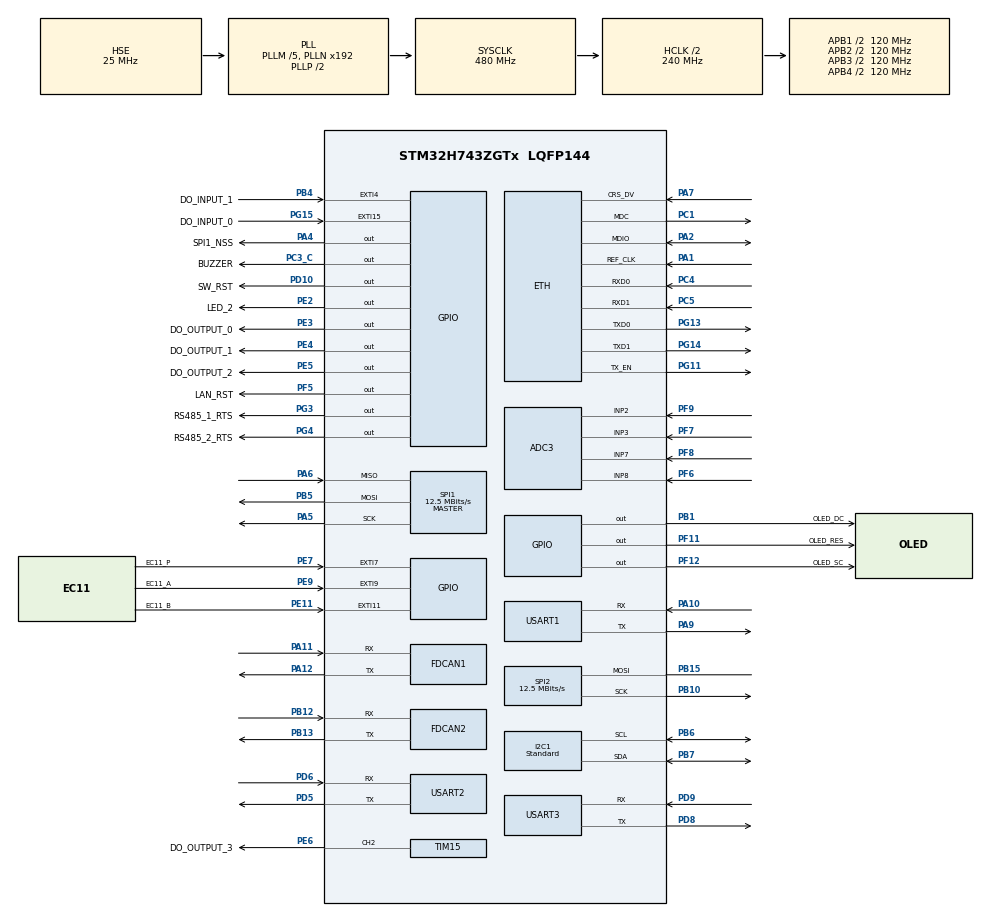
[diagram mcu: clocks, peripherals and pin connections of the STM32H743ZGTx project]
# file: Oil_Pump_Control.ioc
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ADC3.Channel-0\#ChannelRegularConversion=ADC_CHANNEL_8
ADC3.Channel-1\#ChannelRegularConversion=ADC_CHANNEL_3
ADC3.Channel-2\#ChannelRegularConversion=ADC_CHANNEL_7
ADC3.Channel-3\#ChannelRegularConversion=ADC_CHANNEL_2
ADC3.ClockPrescaler=ADC_CLOCK_ASYNC_DIV2
ADC3.ContinuousConvMode=ENABLE
ADC3.ConversionDataManagement=ADC_CONVERSIONDATA_DMA_CIRCULAR
ADC3.NbrOfConversion=4
ADC3.NbrOfConversionFlag=1
ADC3.OffsetNumber-0\#ChannelRegularConversion=ADC_OFFSET_NONE
ADC3.OffsetNumber-1\#ChannelRegularConversion=ADC_OFFSET_NONE
ADC3.OffsetNumber-2\#ChannelRegularConversion=ADC_OFFSET_NONE
ADC3.OffsetNumber-3\#ChannelRegularConversion=ADC_OFFSET_NONE
ADC3.OffsetSignedSaturation-0\#ChannelRegularConversion=DISABLE
ADC3.OffsetSignedSaturation-1\#ChannelRegularConversion=DISABLE
ADC3.OffsetSignedSaturation-2\#ChannelRegularConversion=DISABLE
ADC3.OffsetSignedSaturation-3\#ChannelRegularConversion=DISABLE
ADC3.Rank-0\#ChannelRegularConversion=1
ADC3.Rank-1\#ChannelRegularConversion=2
ADC3.Rank-2\#ChannelRegularConversion=3
ADC3.Rank-3\#ChannelRegularConversion=4
ADC3.SamplingTime-0\#ChannelRegularConversion=ADC_SAMPLETIME_32CYCLES_5
ADC3.SamplingTime-1\#ChannelRegularConversion=ADC_SAMPLETIME_32CYCLES_5
ADC3.SamplingTime-2\#ChannelRegularConversion=ADC_SAMPLETIME_32CYCLES_5
ADC3.SamplingTime-3\#ChannelRegularConversion=ADC_SAMPLETIME_32CYCLES_5
Bdma.ADC3.0.Direction=DMA_PERIPH_TO_MEMORY
Bdma.ADC3.0.EventEnable=DISABLE
Bdma.ADC3.0.Instance=BDMA_Channel0
Bdma.ADC3.0.MemDataAlignment=DMA_MDATAALIGN_HALFWORD
Bdma.ADC3.0.MemInc=DMA_MINC_ENABLE
Bdma.ADC3.0.Mode=DMA_CIRCULAR
Bdma.ADC3.0.PeriphDataAlignment=DMA_PDATAALIGN_HALFWORD
Bdma.ADC3.0.PeriphInc=DMA_PINC_DISABLE
Bdma.ADC3.0.Polarity=HAL_DMAMUX_REQ_GEN_RISING
Bdma.ADC3.0.Priority=DMA_PRIORITY_LOW
Bdma.ADC3.0.RequestNumber=1
Bdma.ADC3.0.SignalID=NONE
Bdma.ADC3.0.SyncEnable=DISABLE
Bdma.ADC3.0.SyncPolarity=HAL_DMAMUX_SYNC_NO_EVENT
Bdma.ADC3.0.SyncRequestNumber=1
Bdma.ADC3.0.SyncSignalID=NONE
Bdma.Request0=ADC3
Bdma.RequestsNb=1
CORTEX_M7.AccessPermission_S-Cortex_Memory_Protection_Unit_Region1_Settings_S=MPU_REGION_FULL_ACCESS
CORTEX_M7.AccessPermission_S-Cortex_Memory_Protection_Unit_Region2_Settings_S=MPU_REGION_FULL_ACCESS
CORTEX_M7.AccessPermission_S-Cortex_Memory_Protection_Unit_Region3_Settings_S=MPU_REGION_FULL_ACCESS
CORTEX_M7.AccessPermission_S-Cortex_Memory_Protection_Unit_Region4_Settings_S=MPU_REGION_FULL_ACCESS
CORTEX_M7.AccessPermission_Spec=MPU_REGION_FULL_ACCESS
CORTEX_M7.BaseAddress_S-Cortex_Memory_Protection_Unit_Region1_Settings_S=0x30000000
CORTEX_M7.BaseAddress_S-Cortex_Memory_Protection_Unit_Region2_Settings_S=0x30004000
CORTEX_M7.BaseAddress_S-Cortex_Memory_Protection_Unit_Region3_Settings_S=0x38000000
CORTEX_M7.BaseAddress_S-Cortex_Memory_Protection_Unit_Region4_Settings_S=0x38800000
CORTEX_M7.BaseAddress_Spec=0x24000000
CORTEX_M7.CPU_DCache=Enabled
CORTEX_M7.CPU_ICache=Enabled
CORTEX_M7.DisableExec_S-Cortex_Memory_Protection_Unit_Region1_Settings_S=MPU_INSTRUCTION_ACCESS_DISABLE
CORTEX_M7.DisableExec_S-Cortex_Memory_Protection_Unit_Region2_Settings_S=MPU_INSTRUCTION_ACCESS_DISABLE
CORTEX_M7.DisableExec_S-Cortex_Memory_Protection_Unit_Region3_Settings_S=MPU_INSTRUCTION_ACCESS_DISABLE
CORTEX_M7.DisableExec_S-Cortex_Memory_Protection_Unit_Region4_Settings_S=MPU_INSTRUCTION_ACCESS_DISABLE
CORTEX_M7.DisableExec_Spec=MPU_INSTRUCTION_ACCESS_DISABLE
CORTEX_M7.Enable_S-Cortex_Memory_Protection_Unit_Region1_Settings_S=MPU_REGION_ENABLE
CORTEX_M7.Enable_S-Cortex_Memory_Protection_Unit_Region2_Settings_S=MPU_REGION_ENABLE
CORTEX_M7.Enable_S-Cortex_Memory_Protection_Unit_Region3_Settings_S=MPU_REGION_ENABLE
CORTEX_M7.Enable_S-Cortex_Memory_Protection_Unit_Region4_Settings_S=MPU_REGION_ENABLE
CORTEX_M7.Enable_S-Cortex_Memory_Protection_Unit_Region5_Settings_S=__NULL
CORTEX_M7.IsBufferable_S-Cortex_Memory_Protection_Unit_Region1_Settings_S=MPU_ACCESS_BUFFERABLE
CORTEX_M7.IsBufferable_S-Cortex_Memory_Protection_Unit_Region2_Settings_S=MPU_ACCESS_BUFFERABLE
CORTEX_M7.IsBufferable_S-Cortex_Memory_Protection_Unit_Region3_Settings_S=MPU_ACCESS_BUFFERABLE
CORTEX_M7.IsBufferable_S-Cortex_Memory_Protection_Unit_Region4_Settings_S=MPU_ACCESS_NOT_BUFFERABLE
CORTEX_M7.IsBufferable_Spec=MPU_ACCESS_NOT_BUFFERABLE
CORTEX_M7.IsCacheable_S-Cortex_Memory_Protection_Unit_Region2_Settings_S=MPU_ACCESS_NOT_CACHEABLE
CORTEX_M7.IsCacheable_S-Cortex_Memory_Protection_Unit_Region4_Settings_S=MPU_ACCESS_NOT_CACHEABLE
CORTEX_M7.IsCacheable_Spec=MPU_ACCESS_CACHEABLE
CORTEX_M7.IsShareable_S-Cortex_Memory_Protection_Unit_Region1_Settings_S=MPU_ACCESS_SHAREABLE
CORTEX_M7.IsShareable_S-Cortex_Memory_Protection_Unit_Region2_Settings_S=MPU_ACCESS_SHAREABLE
CORTEX_M7.IsShareable_S-Cortex_Memory_Protection_Unit_Region3_Settings_S=MPU_ACCESS_SHAREABLE
CORTEX_M7.IsShareable_S-Cortex_Memory_Protection_Unit_Region4_Settings_S=MPU_ACCESS_NOT_SHAREABLE
CORTEX_M7.IsShareable_Spec=MPU_ACCESS_NOT_SHAREABLE
CORTEX_M7.Size_S-Cortex_Memory_Protection_Unit_Region1_Settings_S=MPU_REGION_SIZE_256KB
CORTEX_M7.Size_S-Cortex_Memory_Protection_Unit_Region2_Settings_S=MPU_REGION_SIZE_32KB
CORTEX_M7.Size_S-Cortex_Memory_Protection_Unit_Region3_Settings_S=MPU_REGION_SIZE_64KB
CORTEX_M7.Size_S-Cortex_Memory_Protection_Unit_Region4_Settings_S=MPU_REGION_SIZE_4KB
CORTEX_M7.Size_Spec=MPU_REGION_SIZE_512KB
CORTEX_M7.SubRegionDisable_Spec=0x00
CORTEX_M7.TypeExtField_S-Cortex_Memory_Protection_Unit_Region2_Settings_S=MPU_TEX_LEVEL0
CORTEX_M7.default_mode_Activation=1
Dma.I2C1_TX.0.Direction=DMA_MEMORY_TO_PERIPH
Dma.I2C1_TX.0.EventEnable=DISABLE
Dma.I2C1_TX.0.FIFOMode=DMA_FIFOMODE_DISABLE
Dma.I2C1_TX.0.Instance=DMA1_Stream3
Dma.I2C1_TX.0.MemDataAlignment=DMA_MDATAALIGN_BYTE
Dma.I2C1_TX.0.MemInc=DMA_MINC_ENABLE
Dma.I2C1_TX.0.Mode=DMA_NORMAL
Dma.I2C1_TX.0.PeriphDataAlignment=DMA_PDATAALIGN_BYTE
Dma.I2C1_TX.0.PeriphInc=DMA_PINC_DISABLE
Dma.I2C1_TX.0.Polarity=HAL_DMAMUX_REQ_GEN_RISING
Dma.I2C1_TX.0.Priority=DMA_PRIORITY_LOW
Dma.I2C1_TX.0.RequestNumber=1
Dma.I2C1_TX.0.SignalID=NONE
Dma.I2C1_TX.0.SyncEnable=DISABLE
Dma.I2C1_TX.0.SyncPolarity=HAL_DMAMUX_SYNC_NO_EVENT
Dma.I2C1_TX.0.SyncRequestNumber=1
Dma.I2C1_TX.0.SyncSignalID=NONE
Dma.Request0=I2C1_TX
Dma.Request1=USART2_RX
Dma.Request2=USART2_TX
Dma.Request3=USART1_RX
Dma.Request4=USART1_TX
Dma.Request5=USART3_RX
Dma.Request6=USART3_TX
Dma.USART1_RX.3.Direction=DMA_PERIPH_TO_MEMORY
Dma.USART1_RX.3.EventEnable=DISABLE
Dma.USART1_RX.3.FIFOMode=DMA_FIFOMODE_DISABLE
Dma.USART1_RX.3.Instance=DMA1_Stream0
Dma.USART1_RX.3.MemDataAlignment=DMA_MDATAALIGN_BYTE
Dma.USART1_RX.3.MemInc=DMA_MINC_ENABLE
Dma.USART1_RX.3.Mode=DMA_NORMAL
Dma.USART1_RX.3.PeriphDataAlignment=DMA_PDATAALIGN_BYTE
Dma.USART1_RX.3.PeriphInc=DMA_PINC_DISABLE
Dma.USART1_RX.3.Polarity=HAL_DMAMUX_REQ_GEN_RISING
Dma.USART1_RX.3.Priority=DMA_PRIORITY_HIGH
Dma.USART1_RX.3.RequestNumber=1
Dma.USART1_RX.3.SignalID=NONE
Dma.USART1_RX.3.SyncEnable=DISABLE
Dma.USART1_RX.3.SyncPolarity=HAL_DMAMUX_SYNC_NO_EVENT
Dma.USART1_RX.3.SyncRequestNumber=1
Dma.USART1_RX.3.SyncSignalID=NONE
Dma.USART1_TX.4.Direction=DMA_MEMORY_TO_PERIPH
Dma.USART1_TX.4.EventEnable=DISABLE
Dma.USART1_TX.4.FIFOMode=DMA_FIFOMODE_DISABLE
Dma.USART1_TX.4.Instance=DMA1_Stream1
Dma.USART1_TX.4.MemDataAlignment=DMA_MDATAALIGN_BYTE
Dma.USART1_TX.4.MemInc=DMA_MINC_ENABLE
Dma.USART1_TX.4.Mode=DMA_NORMAL
Dma.USART1_TX.4.PeriphDataAlignment=DMA_PDATAALIGN_BYTE
Dma.USART1_TX.4.PeriphInc=DMA_PINC_DISABLE
Dma.USART1_TX.4.Polarity=HAL_DMAMUX_REQ_GEN_RISING
Dma.USART1_TX.4.Priority=DMA_PRIORITY_HIGH
Dma.USART1_TX.4.RequestNumber=1
Dma.USART1_TX.4.SignalID=NONE
Dma.USART1_TX.4.SyncEnable=DISABLE
Dma.USART1_TX.4.SyncPolarity=HAL_DMAMUX_SYNC_NO_EVENT
Dma.USART1_TX.4.SyncRequestNumber=1
Dma.USART1_TX.4.SyncSignalID=NONE
Dma.USART2_RX.1.Direction=DMA_PERIPH_TO_MEMORY
Dma.USART2_RX.1.EventEnable=DISABLE
Dma.USART2_RX.1.FIFOMode=DMA_FIFOMODE_DISABLE
Dma.USART2_RX.1.Instance=DMA1_Stream4
Dma.USART2_RX.1.MemDataAlignment=DMA_MDATAALIGN_BYTE
Dma.USART2_RX.1.MemInc=DMA_MINC_ENABLE
Dma.USART2_RX.1.Mode=DMA_NORMAL
Dma.USART2_RX.1.PeriphDataAlignment=DMA_PDATAALIGN_BYTE
Dma.USART2_RX.1.PeriphInc=DMA_PINC_DISABLE
Dma.USART2_RX.1.Polarity=HAL_DMAMUX_REQ_GEN_RISING
Dma.USART2_RX.1.Priority=DMA_PRIORITY_LOW
Dma.USART2_RX.1.RequestNumber=1
Dma.USART2_RX.1.SignalID=NONE
Dma.USART2_RX.1.SyncEnable=DISABLE
Dma.USART2_RX.1.SyncPolarity=HAL_DMAMUX_SYNC_NO_EVENT
Dma.USART2_RX.1.SyncRequestNumber=1
Dma.USART2_RX.1.SyncSignalID=NONE
Dma.USART2_TX.2.Direction=DMA_MEMORY_TO_PERIPH
Dma.USART2_TX.2.EventEnable=DISABLE
Dma.USART2_TX.2.FIFOMode=DMA_FIFOMODE_DISABLE
Dma.USART2_TX.2.Instance=DMA1_Stream5
Dma.USART2_TX.2.MemDataAlignment=DMA_MDATAALIGN_BYTE
Dma.USART2_TX.2.MemInc=DMA_MINC_ENABLE
Dma.USART2_TX.2.Mode=DMA_NORMAL
Dma.USART2_TX.2.PeriphDataAlignment=DMA_PDATAALIGN_BYTE
Dma.USART2_TX.2.PeriphInc=DMA_PINC_DISABLE
Dma.USART2_TX.2.Polarity=HAL_DMAMUX_REQ_GEN_RISING
Dma.USART2_TX.2.Priority=DMA_PRIORITY_LOW
Dma.USART2_TX.2.RequestNumber=1
Dma.USART2_TX.2.SignalID=NONE
Dma.USART2_TX.2.SyncEnable=DISABLE
Dma.USART2_TX.2.SyncPolarity=HAL_DMAMUX_SYNC_NO_EVENT
Dma.USART2_TX.2.SyncRequestNumber=1
Dma.USART2_TX.2.SyncSignalID=NONE
Dma.USART3_RX.5.Direction=DMA_PERIPH_TO_MEMORY
Dma.USART3_RX.5.EventEnable=DISABLE
Dma.USART3_RX.5.FIFOMode=DMA_FIFOMODE_DISABLE
Dma.USART3_RX.5.Instance=DMA1_Stream2
Dma.USART3_RX.5.MemDataAlignment=DMA_MDATAALIGN_BYTE
Dma.USART3_RX.5.MemInc=DMA_MINC_ENABLE
Dma.USART3_RX.5.Mode=DMA_NORMAL
Dma.USART3_RX.5.PeriphDataAlignment=DMA_PDATAALIGN_BYTE
Dma.USART3_RX.5.PeriphInc=DMA_PINC_DISABLE
Dma.USART3_RX.5.Polarity=HAL_DMAMUX_REQ_GEN_RISING
Dma.USART3_RX.5.Priority=DMA_PRIORITY_LOW
Dma.USART3_RX.5.RequestNumber=1
Dma.USART3_RX.5.SignalID=NONE
Dma.USART3_RX.5.SyncEnable=DISABLE
Dma.USART3_RX.5.SyncPolarity=HAL_DMAMUX_SYNC_NO_EVENT
Dma.USART3_RX.5.SyncRequestNumber=1
Dma.USART3_RX.5.SyncSignalID=NONE
Dma.USART3_TX.6.Direction=DMA_MEMORY_TO_PERIPH
Dma.USART3_TX.6.EventEnable=DISABLE
Dma.USART3_TX.6.FIFOMode=DMA_FIFOMODE_DISABLE
Dma.USART3_TX.6.Instance=DMA1_Stream6
Dma.USART3_TX.6.MemDataAlignment=DMA_MDATAALIGN_BYTE
Dma.USART3_TX.6.MemInc=DMA_MINC_ENABLE
Dma.USART3_TX.6.Mode=DMA_NORMAL
Dma.USART3_TX.6.PeriphDataAlignment=DMA_PDATAALIGN_BYTE
Dma.USART3_TX.6.PeriphInc=DMA_PINC_DISABLE
Dma.USART3_TX.6.Polarity=HAL_DMAMUX_REQ_GEN_RISING
Dma.USART3_TX.6.Priority=DMA_PRIORITY_LOW
Dma.USART3_TX.6.RequestNumber=1
Dma.USART3_TX.6.SignalID=NONE
Dma.USART3_TX.6.SyncEnable=DISABLE
Dma.USART3_TX.6.SyncPolarity=HAL_DMAMUX_SYNC_NO_EVENT
Dma.USART3_TX.6.SyncRequestNumber=1
Dma.USART3_TX.6.SyncSignalID=NONE
ETH.ETH_RX_DESC_CNT=4
ETH.ETH_TX_DESC_CNT=4
ETH.MediaInterface=HAL_ETH_RMII_MODE
ETH.RxBuffLen=1536
ETH.RxBufferAddress=0x30000200
ETH.RxDescAddress=0x30000000
ETH.TxDescAddress=0x30000100
FDCAN1.CalculateBaudRateNominal=500000
FDCAN1.CalculateTimeBitNominal=2000
FDCAN1.CalculateTimeQuantumNominal=50.0
FDCAN1.DataPrescaler=5
FDCAN1.DataTimeSeg1=31
FDCAN1.DataTimeSeg2=8
FDCAN1.NominalPrescaler=5
FDCAN1.NominalTimeSeg1=31
FDCAN1.NominalTimeSeg2=8
FDCAN1.RxFifo0ElmtsNbr=32
FDCAN1.StdFiltersNbr=1
FDCAN1.TxFifoQueueElmtsNbr=16
FDCAN2.CalculateBaudRateNominal=500000
FDCAN2.CalculateTimeBitNominal=2000
FDCAN2.CalculateTimeQuantumNominal=50.0
FDCAN2.DataPrescaler=5
FDCAN2.DataTimeSeg1=31
FDCAN2.DataTimeSeg2=8
FDCAN2.MessageRAMOffset=0x406
FDCAN2.NominalPrescaler=5
FDCAN2.NominalTimeSeg1=31
FDCAN2.NominalTimeSeg2=8
FDCAN2.RxFifo1ElmtsNbr=32
FDCAN2.StdFiltersNbr=1
FDCAN2.TxFifoQueueElmtsNbr=32
FREERTOS.HEAP_NUMBER=4
FREERTOS.Tasks01=defaultTask,24,4096,StartDefaultTask,Default,NULL,Dynamic,NULL,NULL
FREERTOS.configENABLE_FPU=1
FREERTOS.configMINIMAL_STACK_SIZE=1024
FREERTOS.configTIMER_QUEUE_LENGTH=20
FREERTOS.configTIMER_TASK_PRIORITY=24
FREERTOS.configTIMER_TASK_STACK_DEPTH=20480
FREERTOS.configTOTAL_HEAP_SIZE=200*1024
FREERTOS.configUSE_NEWLIB_REENTRANT=1
FREERTOS.configUSE_TICKLESS_IDLE=1
I2C1.CustomTiming=Disabled
I2C1.I2C_Coeff_DF=10
I2C1.I2C_Fall_Time=20
I2C1.I2C_Rise_Time=20
I2C1.I2C_Speed_Mode=I2C_Standard
I2C1.Timing=0x10D0E0FF
IWDG1.Prescaler=IWDG_PRESCALER_4
LWIP.BSP.number=1
LWIP.DEFAULT_THREAD_PRIO=28
LWIP.ETH_RX_BUFFER_CNT=128
LWIP.IP_ADDRESS=000.000.000.000
LWIP.LWIP_ALLOW_MEM_FREE_FROM_OTHER_CONTEXT=1
LWIP.LWIP_DHCP=0
LWIP.LWIP_NETCONN_FULLDUPLEX=1
LWIP.LWIP_RAM_HEAP_POINTER=0x30000800
LWIP.LWIP_SNTP=1
LWIP.LWIP_TFTP=1
LWIP.MEMP_MEM_INIT=1
LWIP.MEMP_MEM_MALLOC=1
LWIP.MEMP_NUM_PBUF=64
LWIP.MEMP_USE_CUSTOM_POOLS=1
LWIP.MEM_LIBC_MALLOC=1
LWIP.MEM_SIZE=65535
LWIP.NETMASK_ADDRESS=000.000.000.000
LWIP.PBUF_POOL_SIZE=128
LWIP.SLIPIF_THREAD_PRIO=28
LWIP.TCPIP_THREAD_PRIO=32
LWIP.TCPIP_THREAD_STACKSIZE=4096
LWIP.TCP_SND_QUEUELEN=24
LWIP.Version=v2.1.2_Cube
LWIP0.BSP.STBoard=false
LWIP0.BSP.api=BSP_COMPONENT_DRIVER
LWIP0.BSP.component=LAN8742
LWIP0.BSP.instance=LAN8742
LWIP0.BSP.name=Driver_PHY
LWIP0.BSP.semaphore=S_LAN8742
LWIP0.BSP.solution=LAN8742
Mcu.Family=STM32H7
Mcu.Name=STM32H743ZGTx
Mcu.Package=LQFP144
NVIC.BDMA_Channel0_IRQn=true\:5\:0\:false\:false\:true\:true\:false\:true\:true
NVIC.DMA1_Stream0_IRQn=true\:5\:0\:false\:false\:true\:true\:false\:true\:true
NVIC.DMA1_Stream1_IRQn=true\:5\:0\:false\:false\:true\:true\:false\:true\:true
NVIC.DMA1_Stream2_IRQn=true\:5\:0\:false\:false\:true\:true\:false\:true\:true
NVIC.DMA1_Stream3_IRQn=true\:5\:0\:false\:false\:true\:true\:false\:true\:true
NVIC.DMA1_Stream4_IRQn=true\:5\:0\:false\:false\:true\:true\:false\:true\:true
NVIC.DMA1_Stream5_IRQn=true\:5\:0\:false\:false\:true\:true\:false\:true\:true
NVIC.DMA1_Stream6_IRQn=true\:5\:0\:false\:false\:true\:true\:false\:true\:true
NVIC.ETH_IRQn=true\:5\:0\:true\:false\:true\:true\:true\:true\:true
NVIC.EXTI15_10_IRQn=true\:6\:0\:true\:false\:true\:true\:true\:true\:true
NVIC.EXTI4_IRQn=true\:6\:0\:true\:false\:true\:true\:true\:true\:true
NVIC.EXTI9_5_IRQn=true\:6\:0\:true\:false\:true\:false\:true\:true\:true
NVIC.FDCAN1_IT0_IRQn=true\:5\:0\:false\:false\:true\:true\:true\:true\:true
NVIC.FDCAN2_IT0_IRQn=true\:5\:0\:false\:false\:true\:true\:true\:true\:true
NVIC.PriorityGroup=NVIC_PRIORITYGROUP_4
NVIC.TIM15_IRQn=true\:5\:0\:false\:false\:true\:true\:true\:true\:true
NVIC.TIM2_IRQn=true\:5\:0\:false\:false\:false\:true\:true\:true\:true
NVIC.TIM7_IRQn=true\:15\:0\:false\:false\:true\:false\:false\:true\:true
NVIC.TimeBase=TIM7_IRQn
NVIC.TimeBaseIP=TIM7
NVIC.USART1_IRQn=true\:7\:0\:true\:false\:false\:true\:true\:true\:true
NVIC.USART2_IRQn=true\:5\:0\:true\:false\:true\:true\:true\:true\:true
NVIC.USART3_IRQn=true\:5\:0\:true\:false\:false\:true\:true\:true\:true
PA1.GPIO_Mode=GPIO_MODE_AF_PP
PA1.GPIO_PuPd=GPIO_NOPULL
PA1.GPIO_Speed=GPIO_SPEED_FREQ_VERY_HIGH
PA1.Mode=RMII
PA1.Signal=ETH_REF_CLK
PA10.GPIO_PuPd=GPIO_PULLUP
PA10.GPIO_Speed=GPIO_SPEED_FREQ_HIGH
PA10.Mode=Asynchronous
PA10.Signal=USART1_RX
PA11.Mode=FDCAN_Activate
PA11.Signal=FDCAN1_RX
PA12.Mode=FDCAN_Activate
PA12.Signal=FDCAN1_TX
PA13\ (JTMS/SWDIO).Mode=Serial_Wire
PA13\ (JTMS/SWDIO).Signal=DEBUG_JTMS-SWDIO
PA14\ (JTCK/SWCLK).Mode=Serial_Wire
PA14\ (JTCK/SWCLK).Signal=DEBUG_JTCK-SWCLK
PA2.GPIO_Mode=GPIO_MODE_AF_PP
PA2.GPIO_PuPd=GPIO_NOPULL
PA2.GPIO_Speed=GPIO_SPEED_FREQ_VERY_HIGH
PA2.Mode=RMII
PA2.Signal=ETH_MDIO
PA4.GPIO_Label=SPI1_NSS
PA4.GPIO_Speed=GPIO_SPEED_FREQ_MEDIUM
PA4.Signal=GPIO_Output
PA5.GPIO_Speed=GPIO_SPEED_FREQ_VERY_HIGH
PA5.Mode=Full_Duplex_Master
PA5.Signal=SPI1_SCK
PA6.GPIO_Speed=GPIO_SPEED_FREQ_VERY_HIGH
PA6.Mode=Full_Duplex_Master
PA6.Signal=SPI1_MISO
PA7.GPIO_Mode=GPIO_MODE_AF_PP
PA7.GPIO_PuPd=GPIO_NOPULL
PA7.GPIO_Speed=GPIO_SPEED_FREQ_VERY_HIGH
PA7.Mode=RMII
PA7.Signal=ETH_CRS_DV
PA9.GPIO_PuPd=GPIO_PULLUP
PA9.GPIO_Speed=GPIO_SPEED_FREQ_HIGH
PA9.Mode=Asynchronous
PA9.Signal=USART1_TX
PB1.GPIO_Label=OLED_DC
PB1.Signal=GPIO_Output
PB10.Mode=Simplex_Bidirectional_Master
PB10.Signal=SPI2_SCK
PB12.Mode=FDCAN_Activate
PB12.Signal=FDCAN2_RX
PB13.Mode=FDCAN_Activate
PB13.Signal=FDCAN2_TX
PB15.Mode=Simplex_Bidirectional_Master
PB15.Signal=SPI2_MOSI
PB4\ (NJTRST).GPIO_Label=DO_INPUT_1
PB4\ (NJTRST).Signal=GPXTI4
PB5.GPIO_Speed=GPIO_SPEED_FREQ_VERY_HIGH
PB5.Mode=Full_Duplex_Master
PB5.Signal=SPI1_MOSI
PB6.GPIO_Pu=GPIO_PULLUP
PB6.GPIO_Speed=GPIO_SPEED_FREQ_HIGH
PB6.Mode=I2C
PB6.Signal=I2C1_SCL
PB7.GPIO_Pu=GPIO_PULLUP
PB7.GPIO_Speed=GPIO_SPEED_FREQ_HIGH
PB7.Mode=I2C
PB7.Signal=I2C1_SDA
PC1.GPIO_Mode=GPIO_MODE_AF_PP
PC1.GPIO_PuPd=GPIO_NOPULL
PC1.GPIO_Speed=GPIO_SPEED_FREQ_VERY_HIGH
PC1.Mode=RMII
PC1.Signal=ETH_MDC
PC3_C.GPIO_Label=BUZZER
PC3_C.GPIO_Speed=GPIO_SPEED_FREQ_HIGH
PC3_C.Signal=GPIO_Output
PC4.GPIO_Mode=GPIO_MODE_AF_PP
PC4.GPIO_PuPd=GPIO_NOPULL
PC4.GPIO_Speed=GPIO_SPEED_FREQ_VERY_HIGH
PC4.Mode=RMII
PC4.Signal=ETH_RXD0
PC5.GPIO_Mode=GPIO_MODE_AF_PP
PC5.GPIO_PuPd=GPIO_NOPULL
PC5.GPIO_Speed=GPIO_SPEED_FREQ_VERY_HIGH
PC5.Mode=RMII
PC5.Signal=ETH_RXD1
PD10.GPIO_Label=SW_RST
PD10.Signal=GPIO_Output
PD5.GPIO_PuPd=GPIO_PULLUP
PD5.GPIO_Speed=GPIO_SPEED_FREQ_HIGH
PD5.Mode=Asynchronous
PD5.Signal=USART2_TX
PD6.GPIO_PuPd=GPIO_PULLUP
PD6.GPIO_Speed=GPIO_SPEED_FREQ_HIGH
PD6.Mode=Asynchronous
PD6.Signal=USART2_RX
PD8.GPIO_PuPd=GPIO_PULLUP
PD8.GPIO_Speed=GPIO_SPEED_FREQ_HIGH
PD8.Mode=Asynchronous
PD8.Signal=USART3_TX
PD9.GPIO_PuPd=GPIO_PULLUP
PD9.GPIO_Speed=GPIO_SPEED_FREQ_HIGH
PD9.Mode=Asynchronous
PD9.Signal=USART3_RX
PE11.GPIO_Label=EC11_B
PE11.GPIO_PuPd=GPIO_PULLUP
PE11.Signal=GPXTI11
PE2.GPIO_Label=LED_2
PE2.GPIO_PuPd=GPIO_PULLUP
PE2.Signal=GPIO_Output
PE3.GPIO_Label=DO_OUTPUT_0
PE3.GPIO_ModeDefaultOutputPP=GPIO_MODE_OUTPUT_PP
PE3.Signal=GPIO_Output
PE4.GPIO_Label=DO_OUTPUT_1
PE4.Signal=GPIO_Output
PE5.GPIO_Label=DO_OUTPUT_2
PE5.Signal=GPIO_Output
PE6.GPIO_Label=DO_OUTPUT_3
PE6.GPIO_Speed=GPIO_SPEED_FREQ_MEDIUM
PE6.Signal=S_TIM15_CH2
PE7.GPIO_Label=EC11_P
PE7.GPIO_ModeDefaultEXTI=GPIO_MODE_IT_RISING_FALLING
PE7.GPIO_PuPd=GPIO_PULLUP
PE7.Signal=GPXTI7
PE9.GPIO_Label=EC11_A
PE9.GPIO_PuPd=GPIO_PULLUP
PE9.Signal=GPXTI9
PF11.GPIO_Label=OLED_RES
PF11.Signal=GPIO_Output
PF12.GPIO_Label=OLED_SC
PF12.Signal=GPIO_Output
PF5.GPIO_Label=LAN_RST
PF5.GPIO_PuPd=GPIO_NOPULL
PF5.PinState=GPIO_PIN_SET
PF5.Signal=GPIO_Output
PF6.Mode=IN8-Single-Ended
PF6.Signal=ADC3_INP8
PF7.Mode=IN3-Single-Ended
PF7.Signal=ADC3_INP3
PF8.Mode=IN7-Single-Ended
PF8.Signal=ADC3_INP7
PF9.Mode=IN2-Single-Ended
PF9.Signal=ADC3_INP2
PG11.GPIO_Mode=GPIO_MODE_AF_PP
PG11.GPIO_PuPd=GPIO_NOPULL
PG11.GPIO_Speed=GPIO_SPEED_FREQ_VERY_HIGH
PG11.Mode=RMII
PG11.Signal=ETH_TX_EN
PG13.GPIO_Mode=GPIO_MODE_AF_PP
PG13.GPIO_PuPd=GPIO_NOPULL
PG13.GPIO_Speed=GPIO_SPEED_FREQ_VERY_HIGH
PG13.Mode=RMII
PG13.Signal=ETH_TXD0
PG14.GPIO_Mode=GPIO_MODE_AF_PP
PG14.GPIO_PuPd=GPIO_NOPULL
PG14.GPIO_Speed=GPIO_SPEED_FREQ_VERY_HIGH
PG14.Mode=RMII
PG14.Signal=ETH_TXD1
PG15.GPIO_Label=DO_INPUT_0
PG15.GPIO_PuPd=GPIO_PULLDOWN
PG15.Signal=GPXTI15
PG3.GPIO_Label=RS485_1_RTS
PG3.GPIO_ModeDefaultOutputPP=GPIO_MODE_OUTPUT_PP
PG3.GPIO_PuPd=GPIO_NOPULL
PG3.GPIO_Speed=GPIO_SPEED_FREQ_MEDIUM
PG3.PinState=GPIO_PIN_RESET
PG3.Signal=GPIO_Output
PG4.GPIO_Label=RS485_2_RTS
PG4.GPIO_PuPd=GPIO_NOPULL
PG4.GPIO_Speed=GPIO_SPEED_FREQ_MEDIUM
PG4.PinState=GPIO_PIN_RESET
PG4.Signal=GPIO_Output
PH0-OSC_IN\ (PH0).Mode=HSE-External-Oscillator
PH0-OSC_IN\ (PH0).Signal=RCC_OSC_IN
PH1-OSC_OUT\ (PH1).Mode=HSE-External-Oscillator
PH1-OSC_OUT\ (PH1).Signal=RCC_OSC_OUT
ProjectManager.HeapSize=0x1200
ProjectManager.StackSize=0x1000
ProjectManager.TargetToolchain=CMake
RCC.ADCFreq_Value=100000000
RCC.APB1Freq_Value=120000000
RCC.APB2Freq_Value=120000000
RCC.APB3Freq_Value=120000000
RCC.APB4Freq_Value=120000000
RCC.CortexFreq_Value=480000000
RCC.D1PPRE=RCC_APB3_DIV2
RCC.D2PPRE1=RCC_APB1_DIV2
RCC.D2PPRE2=RCC_APB2_DIV2
RCC.D3PPRE=RCC_APB4_DIV2
RCC.DIVM1=5
RCC.DIVM2=5
RCC.DIVM3=5
RCC.DIVN1=192
RCC.DIVN2=160
RCC.DIVN3=160
RCC.DIVP2=8
RCC.DIVP3=4
RCC.DIVQ2=8
RCC.DIVR3=8
RCC.FDCANCLockSelection=RCC_FDCANCLKSOURCE_PLL2
RCC.HCLKFreq_Value=240000000
RCC.HPRE=RCC_HCLK_DIV2
RCC.I2C123CLockSelection=RCC_I2C123CLKSOURCE_PLL3
RCC.PLLSourceVirtual=RCC_PLLSOURCE_HSE
RCC.SPI123CLockSelection=RCC_SPI123CLKSOURCE_PLL3
RCC.SYSCLKFreq_VALUE=480000000
RCC.SYSCLKSource=RCC_SYSCLKSOURCE_PLLCLK
RCC.USBFreq_Value=480000000
RTC.Format=RTC_FORMAT_BCD
RTC.Year=25
SH.S_TIM15_CH2.0=TIM15_CH2,PWM Generation2 CH2
SPI1.BaudRatePrescaler=SPI_BAUDRATEPRESCALER_16
SPI1.CLKPhase=SPI_PHASE_1EDGE
SPI1.CLKPolarity=SPI_POLARITY_LOW
SPI1.CalculateBaudRate=12.5 MBits/s
SPI1.DataSize=SPI_DATASIZE_8BIT
SPI1.Direction=SPI_DIRECTION_2LINES
SPI1.FirstBit=SPI_FIRSTBIT_MSB
SPI1.Mode=SPI_MODE_MASTER
SPI1.VirtualType=VM_MASTER
SPI2.BaudRatePrescaler=SPI_BAUDRATEPRESCALER_16
SPI2.CLKPhase=SPI_PHASE_2EDGE
SPI2.CLKPolarity=SPI_POLARITY_HIGH
SPI2.CalculateBaudRate=12.5 MBits/s
SPI2.DataSize=SPI_DATASIZE_8BIT
SPI2.Direction=SPI_DIRECTION_1LINE
SPI2.Mode=SPI_MODE_MASTER
SPI2.VirtualType=VM_MASTER
TIM15.AutoReloadPreload=TIM_AUTORELOAD_PRELOAD_ENABLE
TIM15.Channel-PWM\ Generation2\ CH2=TIM_CHANNEL_2
TIM15.Period=1000-1
TIM15.Prescaler=120-1
TIM15.Pulse-PWM\ Generation2\ CH2=500-1
TIM2.AutoReloadPreload=TIM_AUTORELOAD_PRELOAD_DISABLE
TIM2.Prescaler=239
USART1.VirtualMode-Asynchronous=VM_ASYNC
USART2.VirtualMode-Asynchronous=VM_ASYNC
USART3.VirtualMode-Asynchronous=VM_ASYNC
VP_FREERTOS_VS_CMSIS_V2.Mode=CMSIS_V2
VP_IWDG1_VS_IWDG.Mode=IWDG_Activate
VP_LWIP_VS_Enabled.Mode=Enabled
VP_MEMORYMAP_VS_MEMORYMAP.Mode=CurAppReg
VP_RTC_VS_RTC_Activate.Mode=RTC_Enabled
VP_RTC_VS_RTC_Calendar.Mode=RTC_Calendar
VP_SYS_VS_tim7.Mode=TIM7
VP_TIM15_VS_ClockSourceINT.Mode=Internal
VP_TIM2_VS_ClockSourceINT.Mode=Internal
board=custom

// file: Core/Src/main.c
/* USER CODE BEGIN Header */
/**
  ******************************************************************************
  * @file           : main.c
  * @brief          : Main program body
  ******************************************************************************
  * @attention
  *
  * Copyright (c) 2026 STMicroelectronics.
  * All rights reserved.
  *
  * This software is licensed under terms that can be found in the LICENSE file
  * in the root directory of this software component.
  * If no LICENSE file comes with this software, it is provided AS-IS.
  *
  ******************************************************************************
  */
/* USER CODE END Header */
#include "main.h"
#include "cmsis_os.h"
#include "adc.h"
#include "bdma.h"
#include "dma.h"
#include "fdcan.h"
#include "i2c.h"
#include "iwdg.h"
#include "lwip.h"
#include "rtc.h"
#include "spi.h"
#include "tim.h"
#include "usart.h"
#include "gpio.h"

/* USER CODE BEGIN Includes */
#include "cJSON.h"
#include "ADC_collect.h"
#include "main_logic.h"
/* USER CODE END Includes */

void SystemClock_Config(void);
void PeriphCommonClock_Config(void);
static void MPU_Config(void);
void MX_FREERTOS_Init(void);

int main(void)
{

  /* USER CODE BEGIN 1 */
  /* App 运行在内部 Flash 第二 bank（0x08100000），需将向量表偏移指向此处，
     否则中断仍会跳到 Bootloader 区（0x08000000）导致 HardFault。 */
  SCB->VTOR = 0x08100000UL;
  /* USER CODE END 1 */

  /* MPU Configuration--------------------------------------------------------*/
  MPU_Config();

  /* Enable the CPU Cache */

  /* Enable I-Cache---------------------------------------------------------*/
  SCB_EnableICache();

  /* Enable D-Cache---------------------------------------------------------*/
  SCB_EnableDCache();

  /* MCU Configuration--------------------------------------------------------*/

  /* Reset of all peripherals, Initializes the Flash interface and the Systick. */
  HAL_Init();

  /* Configure the system clock */
  SystemClock_Config();

  /* Configure the peripherals common clocks */
  PeriphCommonClock_Config();

  /* Initialize all configured peripherals */
  MX_GPIO_Init();
  MX_DMA_Init();
  MX_BDMA_Init();
  MX_FDCAN1_Init();
  MX_FDCAN2_Init();
  MX_I2C1_Init();
  MX_RTC_Init();
  MX_SPI1_Init();
  MX_USART1_UART_Init();
  MX_USART3_UART_Init();
  MX_USART2_UART_Init();
  MX_SPI2_Init();
  MX_IWDG1_Init();
  MX_ADC3_Init();
  MX_TIM2_Init();
  MX_TIM15_Init();
  /* USER CODE BEGIN 2 */
  cJSON_Init_FreeRTOS_Heap();

  SCB_CleanInvalidateDCache_by_Addr((uint32_t *)adc_raw_buf, sizeof(adc_raw_buf));
  HAL_StatusTypeDef adc_ret = HAL_ADC_Start_DMA(&hadc3, (uint32_t*)adc_raw_buf, 4);
  SET_BIT(ADC3->CFGR, ADC_CFGR_DMNGT_0 | ADC_CFGR_DMNGT_1);
  if(adc_ret == HAL_OK)
  {
      LOG_Debug("ADC3 DMA 启动成功");
  }
  else
  {
      LOG_Debug("ADC3 DMA 启动失败, ret=%d", adc_ret);
  }
  // 判断ADC是否正在持续转换
  if(READ_BIT(ADC3->CR, ADC_CR_ADSTART))
  {
      LOG_Debug("ADC3 正在转换中");
  }
  if(READ_BIT(BDMA_Channel0->CCR, BDMA_CCR_EN))
  {
      LOG_Debug("BDMA通道0已开启传输");
  }
  /* USER CODE END 2 */

  /* Init scheduler */
  osKernelInitialize();  /* Call init function for freertos objects (in cmsis_os2.c) */
  MX_FREERTOS_Init();

  /* Start scheduler */
  osKernelStart();

  /* We should never get here as control is now taken by the scheduler */

  /* Infinite loop */
  while (1)
  {

  }
}

void SystemClock_Config(void)
{
  RCC_OscInitTypeDef RCC_OscInitStruct = {0};
  RCC_ClkInitTypeDef RCC_ClkInitStruct = {0};

  /** Supply configuration update enable
  */
  HAL_PWREx_ConfigSupply(PWR_LDO_SUPPLY);

  /** Configure the main internal regulator output voltage
  */
  __HAL_PWR_VOLTAGESCALING_CONFIG(PWR_REGULATOR_VOLTAGE_SCALE0);

  while(!__HAL_PWR_GET_FLAG(PWR_FLAG_VOSRDY)) {}

  /** Initializes the RCC Oscillators according to the specified parameters
  * in the RCC_OscInitTypeDef structure.
  */
  RCC_OscInitStruct.OscillatorType = RCC_OSCILLATORTYPE_LSI|RCC_OSCILLATORTYPE_HSE;
  RCC_OscInitStruct.HSEState = RCC_HSE_ON;
  RCC_OscInitStruct.LSIState = RCC_LSI_ON;
  RCC_OscInitStruct.PLL.PLLState = RCC_PLL_ON;
  RCC_OscInitStruct.PLL.PLLSource = RCC_PLLSOURCE_HSE;
  RCC_OscInitStruct.PLL.PLLM = 5;
  RCC_OscInitStruct.PLL.PLLN = 192;
  RCC_OscInitStruct.PLL.PLLP = 2;
  RCC_OscInitStruct.PLL.PLLQ = 2;
  RCC_OscInitStruct.PLL.PLLR = 2;
  RCC_OscInitStruct.PLL.PLLRGE = RCC_PLL1VCIRANGE_2;
  RCC_OscInitStruct.PLL.PLLVCOSEL = RCC_PLL1VCOWIDE;
  RCC_OscInitStruct.PLL.PLLFRACN = 0;
  if (HAL_RCC_OscConfig(&RCC_OscInitStruct) != HAL_OK)
  {
    Error_Handler();
  }

  /** Initializes the CPU, AHB and APB buses clocks
  */
  RCC_ClkInitStruct.ClockType = RCC_CLOCKTYPE_HCLK|RCC_CLOCKTYPE_SYSCLK
                              |RCC_CLOCKTYPE_PCLK1|RCC_CLOCKTYPE_PCLK2
                              |RCC_CLOCKTYPE_D3PCLK1|RCC_CLOCKTYPE_D1PCLK1;
  RCC_ClkInitStruct.SYSCLKSource = RCC_SYSCLKSOURCE_PLLCLK;
  RCC_ClkInitStruct.SYSCLKDivider = RCC_SYSCLK_DIV1;
  RCC_ClkInitStruct.AHBCLKDivider = RCC_HCLK_DIV2;
  RCC_ClkInitStruct.APB3CLKDivider = RCC_APB3_DIV2;
  RCC_ClkInitStruct.APB1CLKDivider = RCC_APB1_DIV2;
  RCC_ClkInitStruct.APB2CLKDivider = RCC_APB2_DIV2;
  RCC_ClkInitStruct.APB4CLKDivider = RCC_APB4_DIV2;

  if (HAL_RCC_ClockConfig(&RCC_ClkInitStruct, FLASH_LATENCY_4) != HAL_OK)
  {
    Error_Handler();
  }
}

void PeriphCommonClock_Config(void)
{
  RCC_PeriphCLKInitTypeDef PeriphClkInitStruct = {0};

  /** Initializes the peripherals clock
  */
  PeriphClkInitStruct.PeriphClockSelection = RCC_PERIPHCLK_ADC|RCC_PERIPHCLK_I2C1
                              |RCC_PERIPHCLK_SPI2|RCC_PERIPHCLK_SPI1
                              |RCC_PERIPHCLK_FDCAN;
  PeriphClkInitStruct.PLL2.PLL2M = 5;
  PeriphClkInitStruct.PLL2.PLL2N = 160;
  PeriphClkInitStruct.PLL2.PLL2P = 8;
  PeriphClkInitStruct.PLL2.PLL2Q = 8;
  PeriphClkInitStruct.PLL2.PLL2R = 2;
  PeriphClkInitStruct.PLL2.PLL2RGE = RCC_PLL2VCIRANGE_2;
  PeriphClkInitStruct.PLL2.PLL2VCOSEL = RCC_PLL2VCOWIDE;
  PeriphClkInitStruct.PLL2.PLL2FRACN = 0;
  PeriphClkInitStruct.PLL3.PLL3M = 5;
  PeriphClkInitStruct.PLL3.PLL3N = 160;
  PeriphClkInitStruct.PLL3.PLL3P = 4;
  PeriphClkInitStruct.PLL3.PLL3Q = 2;
  PeriphClkInitStruct.PLL3.PLL3R = 8;
  PeriphClkInitStruct.PLL3.PLL3RGE = RCC_PLL3VCIRANGE_2;
  PeriphClkInitStruct.PLL3.PLL3VCOSEL = RCC_PLL3VCOWIDE;
  PeriphClkInitStruct.PLL3.PLL3FRACN = 0;
  PeriphClkInitStruct.Spi123ClockSelection = RCC_SPI123CLKSOURCE_PLL3;
  PeriphClkInitStruct.FdcanClockSelection = RCC_FDCANCLKSOURCE_PLL2;
  PeriphClkInitStruct.I2c123ClockSelection = RCC_I2C123CLKSOURCE_PLL3;
  PeriphClkInitStruct.AdcClockSelection = RCC_ADCCLKSOURCE_PLL2;
  if (HAL_RCCEx_PeriphCLKConfig(&PeriphClkInitStruct) != HAL_OK)
  {
    Error_Handler();
  }
}

 /* MPU Configuration */

void MPU_Config(void)
{
  MPU_Region_InitTypeDef MPU_InitStruct = {0};

  /* Disables the MPU */
  HAL_MPU_Disable();

  /** Initializes and configures the Region and the memory to be protected
  */
  MPU_InitStruct.Enable = MPU_REGION_ENABLE;
  MPU_InitStruct.Number = MPU_REGION_NUMBER0;
  MPU_InitStruct.BaseAddress = 0x24000000;
  MPU_InitStruct.Size = MPU_REGION_SIZE_512KB;
  MPU_InitStruct.SubRegionDisable = 0x00;
  MPU_InitStruct.TypeExtField = MPU_TEX_LEVEL0;
  MPU_InitStruct.AccessPermission = MPU_REGION_FULL_ACCESS;
  MPU_InitStruct.DisableExec = MPU_INSTRUCTION_ACCESS_DISABLE;
  MPU_InitStruct.IsShareable = MPU_ACCESS_NOT_SHAREABLE;
  MPU_InitStruct.IsCacheable = MPU_ACCESS_CACHEABLE;
  MPU_InitStruct.IsBufferable = MPU_ACCESS_NOT_BUFFERABLE;

  HAL_MPU_ConfigRegion(&MPU_InitStruct);

  /** Initializes and configures the Region and the memory to be protected
  */
  MPU_InitStruct.Number = MPU_REGION_NUMBER1;
  MPU_InitStruct.BaseAddress = 0x30000000;
  MPU_InitStruct.Size = MPU_REGION_SIZE_256KB;
  MPU_InitStruct.SubRegionDisable = 0x0;
  MPU_InitStruct.IsShareable = MPU_ACCESS_SHAREABLE;
  MPU_InitStruct.IsCacheable = MPU_ACCESS_NOT_CACHEABLE;
  MPU_InitStruct.IsBufferable = MPU_ACCESS_BUFFERABLE;

  HAL_MPU_ConfigRegion(&MPU_InitStruct);

  /** Initializes and configures the Region and the memory to be protected
  */
  MPU_InitStruct.Number = MPU_REGION_NUMBER2;
  MPU_InitStruct.BaseAddress = 0x30004000;
  MPU_InitStruct.Size = MPU_REGION_SIZE_32KB;

  HAL_MPU_ConfigRegion(&MPU_InitStruct);

  /** Initializes and configures the Region and the memory to be protected
  */
  MPU_InitStruct.Number = MPU_REGION_NUMBER3;
  MPU_InitStruct.BaseAddress = 0x38000000;
  MPU_InitStruct.Size = MPU_REGION_SIZE_64KB;

  HAL_MPU_ConfigRegion(&MPU_InitStruct);

  /** Initializes and configures the Region and the memory to be protected
  */
  MPU_InitStruct.Number = MPU_REGION_NUMBER4;
  MPU_InitStruct.BaseAddress = 0x38800000;
  MPU_InitStruct.Size = MPU_REGION_SIZE_4KB;
  MPU_InitStruct.IsShareable = MPU_ACCESS_NOT_SHAREABLE;
  MPU_InitStruct.IsBufferable = MPU_ACCESS_NOT_BUFFERABLE;

  HAL_MPU_ConfigRegion(&MPU_InitStruct);
  /* Enables the MPU */
  HAL_MPU_Enable(MPU_PRIVILEGED_DEFAULT);

}

void HAL_TIM_PeriodElapsedCallback(TIM_HandleTypeDef *htim)
{
  if (htim->Instance == TIM7)
  {
    HAL_IncTick();
  }
}

void Error_Handler(void)
{
  __disable_irq();
  while (1)
  {
  }
}
